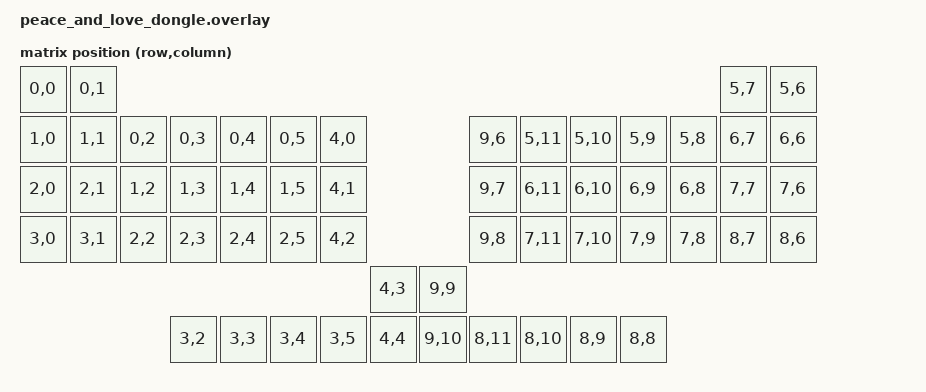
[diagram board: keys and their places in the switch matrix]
#include <dt-bindings/zmk/matrix_transform.h>

/ {
    chosen {
        zmk,kscan = &mock_kscan;
        zephyr,display = &oled;
    };

    mock_kscan: mock_kscan_0 {
        compatible = "zmk,kscan-mock";
        columns = <0>;
        rows = <0>;
        events = <0>;
    };

    default_transform: keymap_transform0 {
        compatible = "zmk,matrix-transform";
        columns = <12>;
        rows = <10>;
        map = <
            RC(0,0)   RC(0,1)                                                                                                                             RC(5,7)   RC(5,6)
            RC(1,0)   RC(1,1)   RC(0,2)   RC(0,3)   RC(0,4)   RC(0,5)   RC(4,0)                         RC(9,6)   RC(5,11)  RC(5,10)  RC(5,9)   RC(5,8)   RC(6,7)   RC(6,6)
            RC(2,0)   RC(2,1)   RC(1,2)   RC(1,3)   RC(1,4)   RC(1,5)   RC(4,1)                         RC(9,7)   RC(6,11)  RC(6,10)  RC(6,9)   RC(6,8)   RC(7,7)   RC(7,6)
            RC(3,0)   RC(3,1)   RC(2,2)   RC(2,3)   RC(2,4)   RC(2,5)   RC(4,2)                         RC(9,8)   RC(7,11)  RC(7,10)  RC(7,9)   RC(7,8)   RC(8,7)   RC(8,6)
                                                                                  RC(4,3)     RC(9,9)
                                          RC(3,2)   RC(3,3)   RC(3,4)   RC(3,5)   RC(4,4)     RC(9,10)  RC(8,11)  RC(8,10)  RC(8,9)   RC(8,8)
        >;
    };

        physical_layout0: physical_layout_0 {
        compatible = "zmk,physical-layout";
        display-name = "Default Layout";
        transform = <&default_transform>;
    };


    chosen {
        zmk,kscan = &mock_kscan;
        zmk,physical-layout = &physical_layout0;  // New item added
    };
};


/delete-node/ &default_kscan;   // only required if the dongle uses a 
                                // different board than the peripherals

&xiao_i2c {
    status = "okay";
    
    oled: ssd1306@3c {
        compatible = "solomon,ssd1306fb";
        reg = <0x3c>;
        width = <128>;
        height = <64>;
        segment-offset = <0>;
        page-offset = <0>;
        display-offset = <0>;
        multiplex-ratio = <63>;
        segment-remap;
        com-invdir;
        inversion-on;
        prechargep = <0x22>;
    };
};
